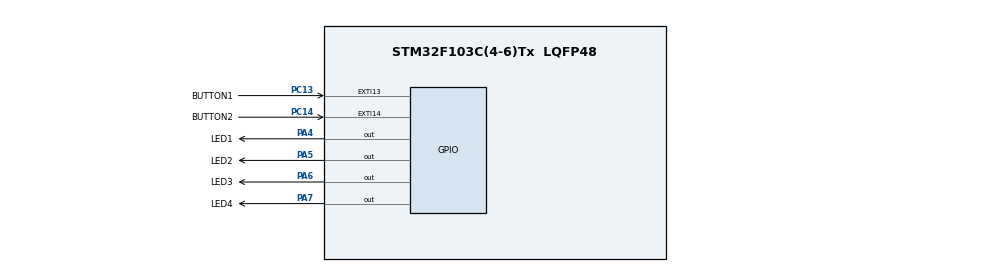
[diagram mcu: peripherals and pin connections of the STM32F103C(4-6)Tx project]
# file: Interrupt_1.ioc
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Mcu.Family=STM32F1
Mcu.Name=STM32F103C(4-6)Tx
Mcu.Package=LQFP48
NVIC.EXTI15_10_IRQn=true\:0\:0\:false\:false\:true\:true\:true\:true
NVIC.PriorityGroup=NVIC_PRIORITYGROUP_4
NVIC.RCC_IRQn=true\:0\:0\:false\:false\:true\:true\:false\:true
PA4.GPIO_Label=LED1
PA4.Signal=GPIO_Output
PA5.GPIO_Label=LED2
PA5.Signal=GPIO_Output
PA6.GPIO_Label=LED3
PA6.Signal=GPIO_Output
PA7.GPIO_Label=LED4
PA7.Signal=GPIO_Output
PC13-TAMPER-RTC.GPIO_Label=BUTTON1
PC13-TAMPER-RTC.Signal=GPXTI13
PC14-OSC32_IN.GPIO_Label=BUTTON2
PC14-OSC32_IN.Signal=GPXTI14
ProjectManager.HeapSize=0x200
ProjectManager.StackSize=0x400
ProjectManager.TargetToolchain=STM32CubeIDE
RCC.APB1Freq_Value=8000000
RCC.APB2Freq_Value=8000000
VP_SYS_VS_ND.Mode=No_Debug
board=custom

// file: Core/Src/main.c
/* USER CODE BEGIN Header */
/**
  ******************************************************************************
  * @file           : main.c
  * @brief          : Main program body
  ******************************************************************************
  * @attention
  *
  * Copyright (c) 2023 STMicroelectronics.
  * All rights reserved.
  *
  * This software is licensed under terms that can be found in the LICENSE file
  * in the root directory of this software component.
  * If no LICENSE file comes with this software, it is provided AS-IS.
  *
  ******************************************************************************
  */
/* USER CODE END Header */
#include "main.h"

/* USER CODE BEGIN PV */
int sayac1=0;
int sayac2=0;
/* USER CODE END PV */

void SystemClock_Config(void);
static void MX_GPIO_Init(void);

int main(void)
{

  /* MCU Configuration--------------------------------------------------------*/

  /* Reset of all peripherals, Initializes the Flash interface and the Systick. */
  HAL_Init();

  /* Configure the system clock */
  SystemClock_Config();

  /* Initialize all configured peripherals */
  MX_GPIO_Init();

  /* Infinite loop */
  while (1)
  {

  }
}

void SystemClock_Config(void)
{
  RCC_OscInitTypeDef RCC_OscInitStruct = {0};
  RCC_ClkInitTypeDef RCC_ClkInitStruct = {0};

  /** Initializes the RCC Oscillators according to the specified parameters
  * in the RCC_OscInitTypeDef structure.
  */
  RCC_OscInitStruct.OscillatorType = RCC_OSCILLATORTYPE_HSI;
  RCC_OscInitStruct.HSIState = RCC_HSI_ON;
  RCC_OscInitStruct.HSICalibrationValue = RCC_HSICALIBRATION_DEFAULT;
  RCC_OscInitStruct.PLL.PLLState = RCC_PLL_NONE;
  if (HAL_RCC_OscConfig(&RCC_OscInitStruct) != HAL_OK)
  {
    Error_Handler();
  }

  /** Initializes the CPU, AHB and APB buses clocks
  */
  RCC_ClkInitStruct.ClockType = RCC_CLOCKTYPE_HCLK|RCC_CLOCKTYPE_SYSCLK
                              |RCC_CLOCKTYPE_PCLK1|RCC_CLOCKTYPE_PCLK2;
  RCC_ClkInitStruct.SYSCLKSource = RCC_SYSCLKSOURCE_HSI;
  RCC_ClkInitStruct.AHBCLKDivider = RCC_SYSCLK_DIV1;
  RCC_ClkInitStruct.APB1CLKDivider = RCC_HCLK_DIV1;
  RCC_ClkInitStruct.APB2CLKDivider = RCC_HCLK_DIV1;

  if (HAL_RCC_ClockConfig(&RCC_ClkInitStruct, FLASH_LATENCY_0) != HAL_OK)
  {
    Error_Handler();
  }
}

static void MX_GPIO_Init(void)
{
  GPIO_InitTypeDef GPIO_InitStruct = {0};

  /* GPIO Ports Clock Enable */
  __HAL_RCC_GPIOC_CLK_ENABLE();
  __HAL_RCC_GPIOA_CLK_ENABLE();

  /*Configure GPIO pin Output Level */
  HAL_GPIO_WritePin(GPIOA, LED1_Pin|LED2_Pin|LED3_Pin|LED4_Pin, GPIO_PIN_RESET);

  /*Configure GPIO pins : BUTTON1_Pin BUTTON2_Pin */
  GPIO_InitStruct.Pin = BUTTON1_Pin|BUTTON2_Pin;
  GPIO_InitStruct.Mode = GPIO_MODE_IT_RISING;
  GPIO_InitStruct.Pull = GPIO_NOPULL;
  HAL_GPIO_Init(GPIOC, &GPIO_InitStruct);

  /*Configure GPIO pins : LED1_Pin LED2_Pin LED3_Pin LED4_Pin */
  GPIO_InitStruct.Pin = LED1_Pin|LED2_Pin|LED3_Pin|LED4_Pin;
  GPIO_InitStruct.Mode = GPIO_MODE_OUTPUT_PP;
  GPIO_InitStruct.Pull = GPIO_NOPULL;
  GPIO_InitStruct.Speed = GPIO_SPEED_FREQ_LOW;
  HAL_GPIO_Init(GPIOA, &GPIO_InitStruct);

  /* EXTI interrupt init*/
  HAL_NVIC_SetPriority(EXTI15_10_IRQn, 0, 0);
  HAL_NVIC_EnableIRQ(EXTI15_10_IRQn);

}

/* USER CODE BEGIN 4 */
void HAL_GPIO_EXTI_Callback(uint16_t GPIO_Pin){
	_HAL_GPIO_EXTI_CLEAR_IT(GPIO_PIN_13);
	_HAL_GPIO_EXTI_CLEAR_IT(GPIO_PIN_14);

	if(GPIO_Pin==GPIO_PIN_13){
		if(sayac1==0){
			HAL_GPIO_WritePin(GPIOA, LED1_Pin, GPIO_PIN_SET);
			sayac1++;
		}else{
			HAL_GPIO_TogglePin(GPIOA, LED1_Pin|LED2_Pin);
		}
	}else if(GPIO_Pin==GPIO_PIN_14){
		if(sayac2==0){
			HAL_GPIO_WritePin(GPIOA, LED3_Pin, GPIO_PIN_SET);
						sayac2++;
		}else{
			HAL_GPIO_TogglePin(GPIOA, LED3_Pin|LED4_Pin);
		}
	}

}
/* USER CODE END 4 */

void Error_Handler(void)
{
  __disable_irq();
  while (1)
  {
  }
}
